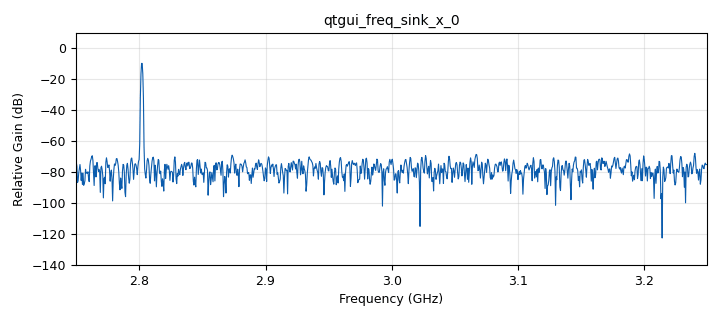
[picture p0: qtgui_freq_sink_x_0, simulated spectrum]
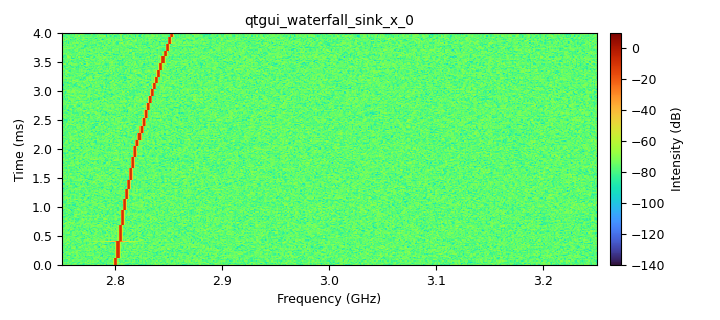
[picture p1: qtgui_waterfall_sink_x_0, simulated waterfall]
options:
  parameters:
    author: simon
    generate_options: qt_gui
    id: sweep_stepping
    output_language: python
    title: Not titled yet
  states: {}

blocks:
- name: LO_freq
  id: variable
  parameters:
    value: 2800e6
  states: {}
- name: current_freq
  id: variable
  parameters:
    value: python_mod.sweeper(fun_prob)
  states: {}
- name: freq_dev
  id: variable
  parameters:
    value: 200e6
  states: {}
- name: frequency
  id: variable_qtgui_label
  parameters:
    label: frequency
    type: real
    value: current_freq
  states: {}
- name: fun_prob
  id: variable_function_probe
  parameters:
    block_id: probSign
    function_name: level
    poll_rate: '100'
    value: '0'
  states: {}
- name: samp_rate
  id: variable
  parameters:
    value: 500e6
  states: {}
- name: variable_qtgui_label_0
  id: variable_qtgui_label
  parameters:
    label: amp
    type: real
    value: fun_prob
  states: {}
- name: analog_noise_source_x_0
  id: analog_noise_source_x
  parameters:
    amp: '0.01'
    noise_type: analog.GR_GAUSSIAN
    seed: '0'
    type: complex
  states: {}
- name: analog_sig_source_x_0
  id: analog_sig_source_x
  parameters:
    amp: '1'
    freq: '0'
    offset: '0'
    phase: '0'
    samp_rate: samp_rate
    type: float
    waveform: analog.GR_CONST_WAVE
  states: {}
- name: analog_sig_source_x_0_0
  id: analog_sig_source_x
  parameters:
    amp: '1'
    freq: current_freq
    offset: '0'
    phase: '0'
    samp_rate: samp_rate
    type: complex
    waveform: analog.GR_COS_WAVE
  states: {}
- name: blocks_add_xx_0
  id: blocks_add_xx
  parameters:
    type: complex
  states: {}
- name: blocks_throttle2_0
  id: blocks_throttle2
  parameters:
    samples_per_second: samp_rate
    type: float
  states: {}
- name: probSign
  id: blocks_probe_signal_x
  parameters:
    type: float
  states: {}
- name: python_mod
  id: epy_module
  parameters:
    source_code: |-
      # this module will be imported in the into your flowgraph

      f1 = 2800e6
      f2 = 3200e6
      # f1 = 2800e6
      # f2 = 3200e6

      f=f1
      NR_OF_STEPS = 200
      step = (f2 - f1) / NR_OF_STEPS
      #counter = 0

      def sweeper(prob_lvl):
          global f1, f2, f, step#, counter
          if prob_lvl:
              f += step
              #counter +=1
          if f >= f2:
              f = f1
              #counter = 0
          #print(bool(prob_lvl), counter)
          return f
  states: {}
- name: qtgui_freq_sink_x_0
  id: qtgui_freq_sink_x
  parameters:
    bw: samp_rate
    fc: LO_freq + freq_dev
    fftsize: '1024'
    grid: 'True'
    type: complex
  states: {}
- name: qtgui_time_sink_x_0
  id: qtgui_time_sink_x
  parameters:
    size: '1024'
    srate: samp_rate
    type: float
  states: {state: disabled}
- name: qtgui_waterfall_sink_x_0
  id: qtgui_waterfall_sink_x
  parameters:
    bw: samp_rate
    fc: LO_freq + freq_dev
    fftsize: '1024'
    grid: 'True'
    type: complex
  states: {}

connections:
- [analog_noise_source_x_0, '0', blocks_add_xx_0, '1']
- [analog_sig_source_x_0, '0', blocks_throttle2_0, '0']
- [analog_sig_source_x_0_0, '0', blocks_add_xx_0, '0']
- [blocks_add_xx_0, '0', qtgui_freq_sink_x_0, '0']
- [blocks_add_xx_0, '0', qtgui_waterfall_sink_x_0, '0']
- [blocks_throttle2_0, '0', probSign, '0']
- [blocks_throttle2_0, '0', qtgui_time_sink_x_0, '0']

metadata:
  file_format: 1
  grc_version: 3.10.11.0
